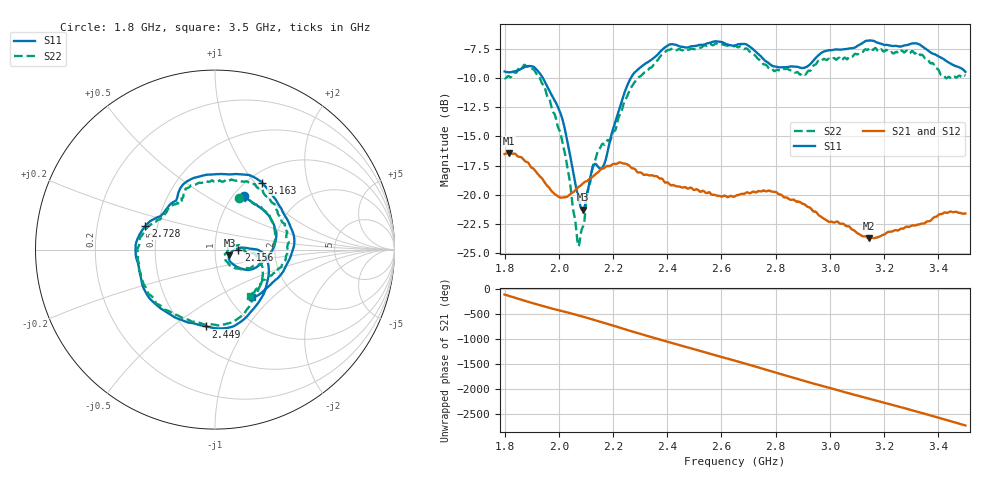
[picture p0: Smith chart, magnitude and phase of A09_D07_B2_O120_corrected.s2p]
! Created with skrf 1.9.0 (http://scikit-rf.org).
# Hz S RI R 50.0
!freq ReS11 ImS11 ReS21 ImS21 ReS12 ImS12 ReS22 ImS22
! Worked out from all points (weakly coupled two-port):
!   1601 points, 1.8 GHz to 3.5 GHz, reference 50 ohm
!   highest |S21| = -16.42 dB at 1.816 GHz (marker M1); lowest = -23.7 dB at 3.144 GHz (marker M2)
!   lowest |S11| = -21.3 dB at 2.089 GHz (marker M3), VSWR 1.19, Z = 58.6 - j3.66 ohm
!   |S11| at or under -10 dB: 1.942 GHz to 2.265 GHz (323.7 MHz wide, 15.4 % of centre)
!   |S22| runs from -24.4 to -7.0 dB; largest |S21 - S12| = 0.0029
!   S11 on the Smith chart (normalised r, x): 1.8 GHz: 1.12, +0.75; 2.156 GHz: 1.30, -0.00; 2.449 GHz: 0.63, -0.67; 2.728 GHz: 0.43, +0.13; 3.163 GHz: 1.16, +1.09; 3.5 GHz: 1.27, -0.76
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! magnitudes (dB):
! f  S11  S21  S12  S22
! 1.8 GHz  -9.4  -16.5  -16.5  -10.0
! 1.816 GHz  -9.5  -16.4  -16.4  -9.8
! 1.88 GHz  -9.0  -17.2  -17.2  -9.0
! 1.942 GHz  -10.0  -18.7  -18.7  -10.6
! 2.011 GHz  -13.4  -20.2  -20.2  -15.3
! 2.068 GHz  -19.8  -19.4  -19.4  -23.8
! 2.084 GHz  -21.2  -19.1  -19.1  -23.0
! 2.089 GHz  -21.3  -19.0  -19.1  -22.7
! 2.127 GHz  -17.5  -18.4  -18.4  -17.4
! 2.156 GHz  -17.8  -17.8  -17.8  -15.8
! 2.261 GHz  -10.2  -17.5  -17.5  -11.0
! 2.367 GHz  -7.9  -18.5  -18.5  -8.4
! 2.449 GHz  -7.3  -19.3  -19.3  -7.6
! 2.65 GHz  -7.2  -20.1  -20.1  -7.2
! 2.728 GHz  -7.8  -19.8  -19.8  -8.1
! 2.805 GHz  -9.1  -19.8  -19.9  -9.3
! 2.934 GHz  -8.6  -21.3  -21.3  -9.2
! 3.144 GHz  -6.8  -23.7  -23.6  -7.5
! 3.163 GHz  -6.8  -23.7  -23.7  -7.5
! 3.217 GHz  -7.2  -23.2  -23.1  -7.8
! 3.325 GHz  -7.1  -22.5  -22.5  -7.8
! 3.5 GHz  -9.5  -21.6  -21.6  -9.8
